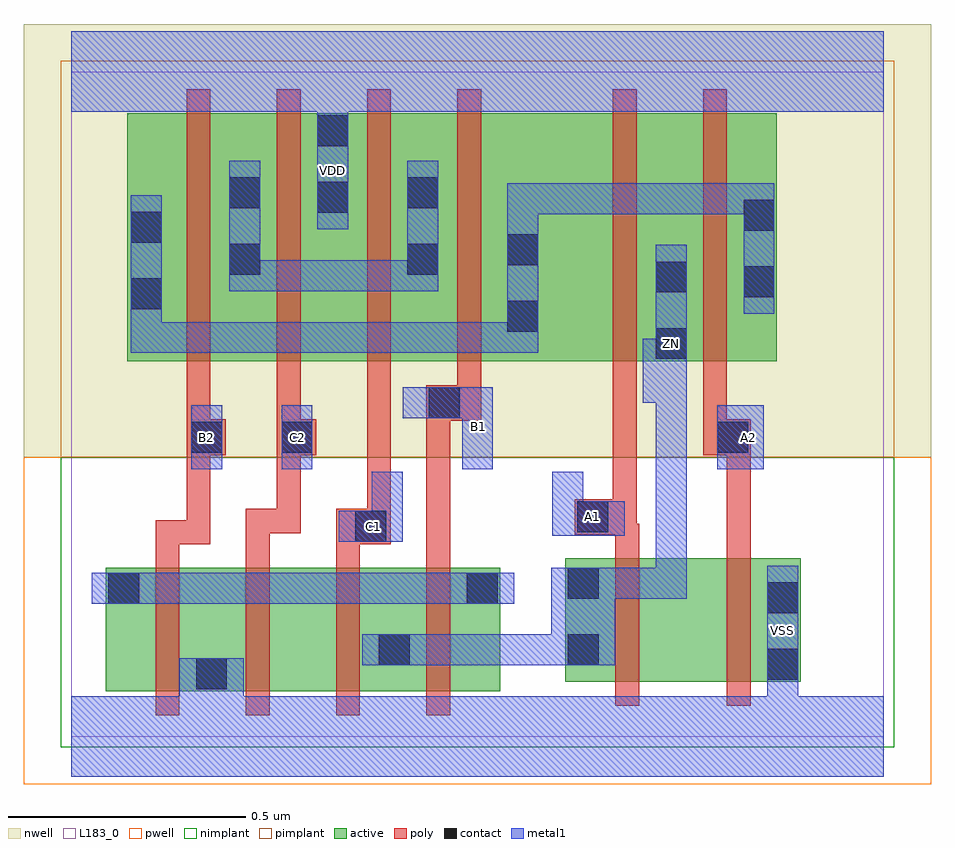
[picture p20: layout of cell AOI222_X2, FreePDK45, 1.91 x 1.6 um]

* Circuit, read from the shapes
.subckt AOI222_X2 A1 A2 B1 B2 C1 C2 VDD VSS ZN
M1 VSS B2 n1 VSUBS nfet w=0.26u l=0.05u
M2 n2 C2 VSS VSUBS nfet w=0.26u l=0.05u
M3 ZN C1 n2 VSUBS nfet w=0.26u l=0.05u
M4 n1 B1 ZN VSUBS nfet w=0.26u l=0.05u
M5 n3 A1 ZN VSUBS nfet w=0.26u l=0.05u
M6 VSS A2 n3 VSUBS nfet w=0.26u l=0.05u
M7 n4 B2 n5 n6 pfet w=0.5225u l=0.05u
M8 VDD C2 n4 n6 pfet w=0.5225u l=0.05u
M9 n4 C1 VDD n6 pfet w=0.5225u l=0.05u
M10 n5 B1 n4 n6 pfet w=0.5225u l=0.05u
M11 ZN A1 n5 n6 pfet w=0.5225u l=0.05u
M12 n5 A2 ZN n6 pfet w=0.5225u l=0.05u
.ends

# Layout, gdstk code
import gdstk
lib = gdstk.Library(unit=1e-6, precision=1e-10)
def R(c, l, rs):  # rectangles x0, y0, x1, y1
    for r in rs: c.add(gdstk.rectangle(r[:2], r[2:], *l))
def P(c, l, *ps):  # polygons
    for p in ps: c.add(gdstk.Polygon(p, *l))
active = (1, 0)
pwell = (2, 0)
nwell = (3, 0)
nimplant = (4, 0)
pimplant = (5, 0)
poly = (9, 0)
contact = (10, 0)
metal1 = (11, 0)
L183_0 = (183, 0)

aoi222_x2 = lib.new_cell('AOI222_X2')
R(aoi222_x2, active, [(0.0725,0.095,0.9025,0.355), (1.04,0.115,1.535,0.375), (0.1175,0.79,1.485,1.3125)])
R(aoi222_x2, pwell, [(-0.1,-0.1,1.81,0.5875)])
R(aoi222_x2, nwell, [(-0.1,0.5875,1.81,1.5)])
R(aoi222_x2, nimplant, [(-0.0225,-0.0225,1.7325,0.5875)])
R(aoi222_x2, pimplant, [(-0.0225,0.5875,1.7325,1.4225)])
P(aoi222_x2, poly, [(1.06,0.425),(1.145,0.425),(1.145,0.065),(1.195,0.065),(1.195,0.4475),(1.19,0.4475),(1.19,1.3625),(1.14,1.3625),(1.14,0.5),(1.06,0.5)],
  [(1.33,0.5925),(1.38,0.5925),(1.38,0.065),(1.43,0.065),(1.43,0.6675),(1.38,0.6675),(1.38,1.3625),(1.33,1.3625)],
  [(0.1775,0.045),(0.2275,0.045),(0.2275,0.405),(0.2925,0.405),(0.2925,0.5925),(0.325,0.5925),(0.325,0.6675),(0.2925,0.6675),(0.2925,0.74),(0.2925,1.3625),(0.2425,1.3625),(0.2425,0.74),(0.2425,0.665),(0.2425,0.455),(0.1775,0.455)],
  [(0.3675,0.045),(0.4175,0.045),(0.4175,0.4275),(0.4825,0.4275),(0.4825,0.48),(0.4825,0.5925),(0.515,0.5925),(0.515,0.6675),(0.4825,0.6675),(0.4825,1.3625),(0.4325,1.3625),(0.4325,0.48),(0.3675,0.48),(0.3675,0.4275)],
  [(0.5575,0.045),(0.6075,0.045),(0.6075,0.405),(0.6725,0.405),(0.6725,1.3625),(0.6225,1.3625),(0.6225,0.48),(0.5575,0.48)],
  [(0.7475,0.045),(0.7975,0.045),(0.7975,0.665),(0.8625,0.665),(0.8625,1.3625),(0.8125,1.3625),(0.8125,0.74),(0.7475,0.74)])
R(aoi222_x2, contact, [(0.2625,0.1,0.3275,0.165), (1.465,0.12,1.53,0.185), (0.6475,0.15,0.7125,0.215), (1.045,0.15,1.11,0.215), (1.465,0.26,1.53,0.325), (0.0775,0.28,0.1425,0.345), (0.8325,0.28,0.8975,0.345), (1.045,0.29,1.11,0.355), (0.5975,0.41,0.6625,0.475), (1.065,0.43,1.13,0.495), (0.2525,0.5975,0.3175,0.6625), (0.4425,0.5975,0.5075,0.6625), (1.36,0.5975,1.425,0.6625), (0.7525,0.67,0.8175,0.735), (1.23,0.795,1.295,0.86), (0.9175,0.8525,0.9825,0.9175), (0.125,0.9,0.19,0.965), (1.415,0.925,1.48,0.99), (1.23,0.935,1.295,1), (0.3325,0.9725,0.3975,1.0375), (0.7075,0.9725,0.7725,1.0375), (0.9175,0.9925,0.9825,1.0575), (0.125,1.04,0.19,1.105), (1.415,1.065,1.48,1.13), (0.5175,1.1025,0.5825,1.1675), (0.3325,1.1125,0.3975,1.1775), (0.7075,1.1125,0.7725,1.1775), (0.5175,1.2425,0.5825,1.3075)])
R(aoi222_x2, metal1, [(0.0425,0.28,0.9325,0.345), (0.2525,0.5625,0.3175,0.6975), (0.4425,0.5625,0.5075,0.6975), (1.36,0.5625,1.4575,0.6975)])
P(aoi222_x2, metal1, [(0.5625,0.41),(0.6975,0.41),(0.6975,0.475),(0.6975,0.5575),(0.6325,0.5575),(0.6325,0.475),(0.5625,0.475)],
  [(0.3325,0.9375),(0.7725,0.9375),(0.7725,1.2125),(0.7075,1.2125),(0.7075,1.0025),(0.3975,1.0025),(0.3975,1.2125),(0.3325,1.2125)],
  [(0.6975,0.67),(0.8225,0.67),(0.8225,0.5625),(0.8875,0.5625),(0.8875,0.735),(0.8525,0.735),(0.8225,0.735),(0.6975,0.735)],
  [(1.0125,0.4225),(1.165,0.4225),(1.165,0.495),(1.0775,0.495),(1.0775,0.5575),(1.0125,0.5575),(1.0125,0.495),(1.0125,0.49)],
  [(1.2025,0.7025),(1.23,0.7025),(1.23,0.355),(1.01,0.355),(1.01,0.215),(0.6125,0.215),(0.6125,0.15),(1.145,0.15),(1.145,0.29),(1.295,0.29),(1.295,0.7025),(1.295,0.8375),(1.295,1.035),(1.23,1.035),(1.23,0.8375),(1.2025,0.8375)],
  [(0.125,0.8075),(0.19,0.8075),(0.9175,0.8075),(0.9825,0.8075),(0.9825,0.8725),(0.9825,1.0425),(0.9825,1.1),(1.415,1.1),(1.415,0.89),(1.48,0.89),(1.48,1.165),(0.9175,1.165),(0.9175,1.1),(0.9175,1.0425),(0.9175,0.8725),(0.19,0.8725),(0.19,0.97),(0.19,1.14),(0.125,1.14),(0.125,0.97),(0.125,0.8725)],
  [(0,-0.085),(1.71,-0.085),(1.71,0.085),(1.53,0.085),(1.53,0.36),(1.465,0.36),(1.465,0.085),(0.3625,0.085),(0.3625,0.165),(0.2275,0.165),(0.2275,0.085),(0,0.085)],
  [(0,1.315),(0.5175,1.315),(0.5175,1.0675),(0.5825,1.0675),(0.5825,1.315),(1.71,1.315),(1.71,1.485),(0,1.485)])
R(aoi222_x2, L183_0, [(0,0,1.71,1.4)])
aoi222_x2.add(gdstk.Label('A1', (1.0975,0.4625), layer=11, texttype=0))
aoi222_x2.add(gdstk.Label('A2', (1.425,0.63), layer=11, texttype=0))
aoi222_x2.add(gdstk.Label('B1', (0.8575,0.6525), layer=11, texttype=0))
aoi222_x2.add(gdstk.Label('B2', (0.285,0.63), layer=11, texttype=0))
aoi222_x2.add(gdstk.Label('C1', (0.635,0.4425), layer=11, texttype=0))
aoi222_x2.add(gdstk.Label('C2', (0.475,0.63), layer=11, texttype=0))
aoi222_x2.add(gdstk.Label('VDD', (0.55,1.1912), layer=11, texttype=0))
aoi222_x2.add(gdstk.Label('VSS', (1.4975,0.2225), layer=11, texttype=0))
aoi222_x2.add(gdstk.Label('ZN', (1.2625,0.8275), layer=11, texttype=0))

lib.write_gds('AOI222_X2.gds')
